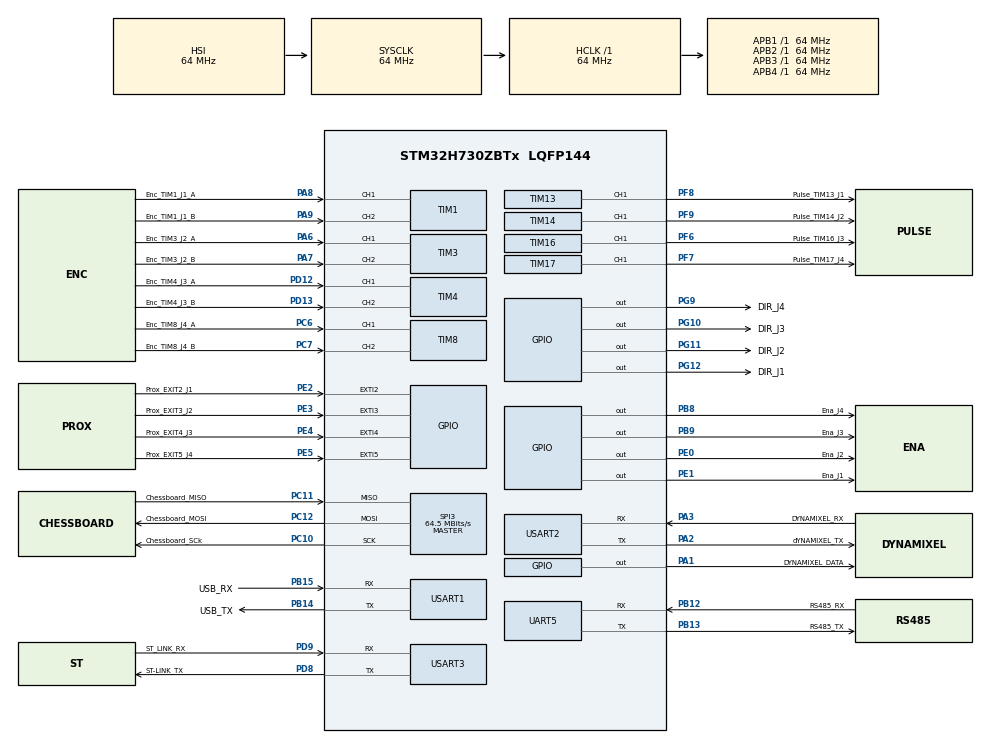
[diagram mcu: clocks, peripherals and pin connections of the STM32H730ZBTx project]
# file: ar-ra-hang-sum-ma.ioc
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Mcu.Family=STM32H7
PD12.GPIO_Label=Enc_TIM4_J3_A
RCC.CortexFreq_Value=64000000
SPI3.Direction=SPI_DIRECTION_2LINES
VP_TIM17_VS_ClockSourceINT.Mode=Enable_Timer
SPI3.VirtualType=VM_MASTER
PC10.Signal=SPI3_SCK
PC12.Signal=SPI3_MOSI
PB14.GPIO_Label=USB_TX
PA13(JTMS/SWDIO).Signal=DEBUG_JTMS-SWDIO
PC6.GPIO_Label=Enc_TIM8_J4_A
PA6.GPIO_Label=Enc_TIM3_J2_A
PB13.GPIO_Label=RS485_TX
PB13.Signal=UART5_TX
PB15.Signal=USART1_RX
PD9.Mode=Asynchronous
PF6.GPIO_Label=Pulse_TIM16_J3
SH.S_TIM13_CH1.0=TIM13_CH1,PWM Generation1 CH1
PG11.Signal=GPIO_Output
ProjectManager.StackSize=0x400
PA13(JTMS/SWDIO).Mode=Serial_Wire
USART3.VirtualMode-Asynchronous=VM_ASYNC
PD13.Signal=S_TIM4_CH2
PF7.Signal=S_TIM17_CH1
SH.S_TIM14_CH1.0=TIM14_CH1,PWM Generation1 CH1
RCC.HCLKFreq_Value=64000000
PC7.Signal=S_TIM8_CH2
PD8.Signal=USART3_TX
PE5.Signal=GPXTI5
PE1.Signal=GPIO_Output
TIM17.Channel=TIM_CHANNEL_1
USART2.VirtualMode-Asynchronous=VM_ASYNC
PB12.GPIO_Label=RS485_RX
PF7.GPIO_Label=Pulse_TIM17_J4
PB14.Mode=Asynchronous
PC11.GPIO_Label=Chessboard_MISO
PE4.GPIO_Label=Prox_EXIT4_J3
SH.S_TIM4_CH2.0=TIM4_CH2,Encoder_Interface
PE2.Signal=GPXTI2
PA8.Signal=S_TIM1_CH1
SH.S_TIM3_CH1.0=TIM3_CH1,Encoder_Interface
PE4.Signal=GPXTI4
RCC.APB3Freq_Value=64000000
PD13.GPIO_Label=Enc_TIM4_J3_B
Mcu.Package=LQFP144
PB9.Signal=GPIO_Output
PA6.Signal=S_TIM3_CH1
PB12.Mode=Asynchronous
SPI3.Mode=SPI_MODE_MASTER
PD12.Signal=S_TIM4_CH1
PA2.GPIO_Label=dYNAMIXEL_TX
PF8.Signal=S_TIM13_CH1
PC11.Mode=Full_Duplex_Master
PE0.GPIO_Label=Ena_J2
SH.S_TIM4_CH1.0=TIM4_CH1,Encoder_Interface
RCC.APB4Freq_Value=64000000
PG11.GPIO_Label=DIR_J2
PB13.Mode=Asynchronous
VP_TIM14_VS_ClockSourceINT.Mode=Enable_Timer
PE2.GPIO_Label=Prox_EXIT2_J1
PA3.Signal=USART2_RX
PG12.Signal=GPIO_Output
PD9.GPIO_Label=ST_LINK_RX
PB9.GPIO_Label=Ena_J3
PC10.GPIO_Label=Chessboard_SCk
PG9.Signal=GPIO_Output
PC11.Signal=SPI3_MISO
PA9.GPIO_Label=Enc_TIM1_J1_B
PC6.Signal=S_TIM8_CH1
PC10.Mode=Full_Duplex_Master
SH.S_TIM16_CH1.0=TIM16_CH1,PWM Generation1 CH1
PD9.Signal=USART3_RX
VP_TIM16_VS_ClockSourceINT.Mode=Enable_Timer
TIM16.Channel=TIM_CHANNEL_1
SH.S_TIM8_CH2.0=TIM8_CH2,Encoder_Interface
PG10.Signal=GPIO_Output
PF8.GPIO_Label=Pulse_TIM13_J1
PD8.GPIO_Label=ST-LINK_TX
USART1.VirtualMode-Asynchronous=VM_ASYNC
PA3.Mode=Asynchronous
PB8.GPIO_Label=Ena_J4
PA8.GPIO_Label=Enc_TIM1_J1_A
SH.S_TIM1_CH1.0=TIM1_CH1,Encoder_Interface
PF6.Signal=S_TIM16_CH1
TIM13.Channel=TIM_CHANNEL_1
ProjectManager.TargetToolchain=STM32CubeIDE
PA9.Signal=S_TIM1_CH2
RCC.USBFreq_Value=129000000
PF9.GPIO_Label=Pulse_TIM14_J2
PD8.Mode=Asynchronous
PA1.Signal=GPIO_Output
PB14.Signal=USART1_TX
PG9.GPIO_Label=DIR_J4
SH.S_TIM3_CH2.0=TIM3_CH2,Encoder_Interface
SH.S_TIM8_CH1.0=TIM8_CH1,Encoder_Interface
PC12.Mode=Full_Duplex_Master
board=custom
PE1.GPIO_Label=Ena_J1
PB15.Mode=Asynchronous
VP_TIM13_VS_ClockSourceINT.Mode=Enable_Timer
RCC.APB2Freq_Value=64000000
SPI3.CalculateBaudRate=64.5 MBits/s
TIM14.Channel=TIM_CHANNEL_1
PB15.GPIO_Label=USB_RX
SH.S_TIM1_CH2.0=TIM1_CH2,Encoder_Interface
RCC.ADCFreq_Value=129000000
PA1.GPIO_Label=DYNAMIXEL_DATA
PA14(JTCK/SWCLK).Mode=Serial_Wire
Mcu.Name=STM32H730ZBTx
PE0.Signal=GPIO_Output
PA2.Signal=USART2_TX
PC7.GPIO_Label=Enc_TIM8_J4_B
RCC.SYSCLKFreq_VALUE=64000000
PA7.GPIO_Label=Enc_TIM3_J2_B
PE5.GPIO_Label=Prox_EXIT5_J4
PC12.GPIO_Label=Chessboard_MOSI
ProjectManager.HeapSize=0x200
PG12.GPIO_Label=DIR_J1
PF9.Signal=S_TIM14_CH1
SH.S_TIM17_CH1.0=TIM17_CH1,PWM Generation1 CH1
NVIC.PriorityGroup=NVIC_PRIORITYGROUP_4
PE3.Signal=GPXTI3
PA2.Mode=Asynchronous
PB8.Signal=GPIO_Output
PE3.GPIO_Label=Prox_EXIT3_J2
PA14(JTCK/SWCLK).Signal=DEBUG_JTCK-SWCLK
RCC.APB1Freq_Value=64000000
PB12.Signal=UART5_RX
PG10.GPIO_Label=DIR_J3
PA3.GPIO_Label=DYNAMIXEL_RX
PA7.Signal=S_TIM3_CH2

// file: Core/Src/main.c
/* USER CODE BEGIN Header */
/**
  ******************************************************************************
  * @file           : main.c
  * @brief          : Main program body
  ******************************************************************************
  * @attention
  *
  * <h2><center>&copy; Copyright (c) 2021 STMicroelectronics.
  * All rights reserved.</center></h2>
  *
  * This software component is licensed by ST under BSD 3-Clause license,
  * the "License"; You may not use this file except in compliance with the
  * License. You may obtain a copy of the License at:
  *                        opensource.org/licenses/BSD-3-Clause
  *
  ******************************************************************************
  */
/* USER CODE END Header */
#include "main.h"

SPI_HandleTypeDef hspi3;

TIM_HandleTypeDef htim1;
TIM_HandleTypeDef htim3;
TIM_HandleTypeDef htim4;
TIM_HandleTypeDef htim8;
TIM_HandleTypeDef htim13;
TIM_HandleTypeDef htim14;
TIM_HandleTypeDef htim16;
TIM_HandleTypeDef htim17;

UART_HandleTypeDef huart5;
UART_HandleTypeDef huart1;
UART_HandleTypeDef huart2;
UART_HandleTypeDef huart3;

/* USER CODE BEGIN PV */
uint8_t my_data[16] = {0};

/* USER CODE END PV */

void SystemClock_Config(void);
static void MX_GPIO_Init(void);
static void MX_SPI3_Init(void);
static void MX_TIM1_Init(void);
static void MX_TIM3_Init(void);
static void MX_TIM4_Init(void);
static void MX_TIM8_Init(void);
static void MX_TIM13_Init(void);
static void MX_TIM14_Init(void);
static void MX_TIM16_Init(void);
static void MX_TIM17_Init(void);
static void MX_UART5_Init(void);
static void MX_USART1_UART_Init(void);
static void MX_USART3_UART_Init(void);
static void MX_USART2_UART_Init(void);
/* USER CODE BEGIN PFP */

void read_data_from(uint8_t slave,uint8_t *data,uint16_t len);
void write_data_from(uint8_t slave,uint8_t *data,uint16_t len);

/* USER CODE END PFP */

int main(void)
{

  /* MCU Configuration--------------------------------------------------------*/

  /* Reset of all peripherals, Initializes the Flash interface and the Systick. */
  HAL_Init();

  /* Configure the system clock */
  SystemClock_Config();

  /* Initialize all configured peripherals */
  MX_GPIO_Init();
  MX_SPI3_Init();
  MX_TIM1_Init();
  MX_TIM3_Init();
  MX_TIM4_Init();
  MX_TIM8_Init();
  MX_TIM13_Init();
  MX_TIM14_Init();
  MX_TIM16_Init();
  MX_TIM17_Init();
  MX_UART5_Init();
  MX_USART1_UART_Init();
  MX_USART3_UART_Init();
  MX_USART2_UART_Init();

  /* Infinite loop */
  /* USER CODE BEGIN WHILE */
  while (1)
  {
	  int a =0;
	  if(a == HAL_GPIO_ReadPin(GPIOx, GPIO_Pin)){
		  write_data_from(1, data, lenght_data);
	  }
	  else if(a == 2 ){
		  write_data_from(2, data, lenght_data);
	  }

    /* USER CODE END WHILE */

  }
}

void SystemClock_Config(void)
{
  RCC_OscInitTypeDef RCC_OscInitStruct = {0};
  RCC_ClkInitTypeDef RCC_ClkInitStruct = {0};

  /** Supply configuration update enable
  */
  HAL_PWREx_ConfigSupply(PWR_DIRECT_SMPS_SUPPLY);
  /** Configure the main internal regulator output voltage
  */
  __HAL_PWR_VOLTAGESCALING_CONFIG(PWR_REGULATOR_VOLTAGE_SCALE3);

  while(!__HAL_PWR_GET_FLAG(PWR_FLAG_VOSRDY)) {}
  /** Initializes the RCC Oscillators according to the specified parameters
  * in the RCC_OscInitTypeDef structure.
  */
  RCC_OscInitStruct.OscillatorType = RCC_OSCILLATORTYPE_HSI;
  RCC_OscInitStruct.HSIState = RCC_HSI_DIV1;
  RCC_OscInitStruct.HSICalibrationValue = RCC_HSICALIBRATION_DEFAULT;
  RCC_OscInitStruct.PLL.PLLState = RCC_PLL_ON;
  RCC_OscInitStruct.PLL.PLLSource = RCC_PLLSOURCE_HSI;
  RCC_OscInitStruct.PLL.PLLM = 32;
  RCC_OscInitStruct.PLL.PLLN = 129;
  RCC_OscInitStruct.PLL.PLLP = 2;
  RCC_OscInitStruct.PLL.PLLQ = 2;
  RCC_OscInitStruct.PLL.PLLR = 2;
  RCC_OscInitStruct.PLL.PLLRGE = RCC_PLL1VCIRANGE_1;
  RCC_OscInitStruct.PLL.PLLVCOSEL = RCC_PLL1VCOWIDE;
  RCC_OscInitStruct.PLL.PLLFRACN = 0;
  if (HAL_RCC_OscConfig(&RCC_OscInitStruct) != HAL_OK)
  {
    Error_Handler();
  }
  /** Initializes the CPU, AHB and APB buses clocks
  */
  RCC_ClkInitStruct.ClockType = RCC_CLOCKTYPE_HCLK|RCC_CLOCKTYPE_SYSCLK
                              |RCC_CLOCKTYPE_PCLK1|RCC_CLOCKTYPE_PCLK2
                              |RCC_CLOCKTYPE_D3PCLK1|RCC_CLOCKTYPE_D1PCLK1;
  RCC_ClkInitStruct.SYSCLKSource = RCC_SYSCLKSOURCE_HSI;
  RCC_ClkInitStruct.SYSCLKDivider = RCC_SYSCLK_DIV1;
  RCC_ClkInitStruct.AHBCLKDivider = RCC_HCLK_DIV1;
  RCC_ClkInitStruct.APB3CLKDivider = RCC_APB3_DIV1;
  RCC_ClkInitStruct.APB1CLKDivider = RCC_APB1_DIV1;
  RCC_ClkInitStruct.APB2CLKDivider = RCC_APB2_DIV1;
  RCC_ClkInitStruct.APB4CLKDivider = RCC_APB4_DIV1;

  if (HAL_RCC_ClockConfig(&RCC_ClkInitStruct, FLASH_LATENCY_1) != HAL_OK)
  {
    Error_Handler();
  }
}

static void MX_SPI3_Init(void)
{

  /* SPI3 parameter configuration*/
  hspi3.Instance = SPI3;
  hspi3.Init.Mode = SPI_MODE_MASTER;
  hspi3.Init.Direction = SPI_DIRECTION_2LINES;
  hspi3.Init.DataSize = SPI_DATASIZE_4BIT;
  hspi3.Init.CLKPolarity = SPI_POLARITY_LOW;
  hspi3.Init.CLKPhase = SPI_PHASE_1EDGE;
  hspi3.Init.NSS = SPI_NSS_SOFT;
  hspi3.Init.BaudRatePrescaler = SPI_BAUDRATEPRESCALER_2;
  hspi3.Init.FirstBit = SPI_FIRSTBIT_MSB;
  hspi3.Init.TIMode = SPI_TIMODE_DISABLE;
  hspi3.Init.CRCCalculation = SPI_CRCCALCULATION_DISABLE;
  hspi3.Init.CRCPolynomial = 0x0;
  hspi3.Init.NSSPMode = SPI_NSS_PULSE_ENABLE;
  hspi3.Init.NSSPolarity = SPI_NSS_POLARITY_LOW;
  hspi3.Init.FifoThreshold = SPI_FIFO_THRESHOLD_01DATA;
  hspi3.Init.TxCRCInitializationPattern = SPI_CRC_INITIALIZATION_ALL_ZERO_PATTERN;
  hspi3.Init.RxCRCInitializationPattern = SPI_CRC_INITIALIZATION_ALL_ZERO_PATTERN;
  hspi3.Init.MasterSSIdleness = SPI_MASTER_SS_IDLENESS_00CYCLE;
  hspi3.Init.MasterInterDataIdleness = SPI_MASTER_INTERDATA_IDLENESS_00CYCLE;
  hspi3.Init.MasterReceiverAutoSusp = SPI_MASTER_RX_AUTOSUSP_DISABLE;
  hspi3.Init.MasterKeepIOState = SPI_MASTER_KEEP_IO_STATE_DISABLE;
  hspi3.Init.IOSwap = SPI_IO_SWAP_DISABLE;
  if (HAL_SPI_Init(&hspi3) != HAL_OK)
  {
    Error_Handler();
  }

}

static void MX_TIM1_Init(void)
{

  TIM_Encoder_InitTypeDef sConfig = {0};
  TIM_MasterConfigTypeDef sMasterConfig = {0};

  htim1.Instance = TIM1;
  htim1.Init.Prescaler = 0;
  htim1.Init.CounterMode = TIM_COUNTERMODE_UP;
  htim1.Init.Period = 65535;
  htim1.Init.ClockDivision = TIM_CLOCKDIVISION_DIV1;
  htim1.Init.RepetitionCounter = 0;
  htim1.Init.AutoReloadPreload = TIM_AUTORELOAD_PRELOAD_DISABLE;
  sConfig.EncoderMode = TIM_ENCODERMODE_TI1;
  sConfig.IC1Polarity = TIM_ICPOLARITY_RISING;
  sConfig.IC1Selection = TIM_ICSELECTION_DIRECTTI;
  sConfig.IC1Prescaler = TIM_ICPSC_DIV1;
  sConfig.IC1Filter = 0;
  sConfig.IC2Polarity = TIM_ICPOLARITY_RISING;
  sConfig.IC2Selection = TIM_ICSELECTION_DIRECTTI;
  sConfig.IC2Prescaler = TIM_ICPSC_DIV1;
  sConfig.IC2Filter = 0;
  if (HAL_TIM_Encoder_Init(&htim1, &sConfig) != HAL_OK)
  {
    Error_Handler();
  }
  sMasterConfig.MasterOutputTrigger = TIM_TRGO_RESET;
  sMasterConfig.MasterOutputTrigger2 = TIM_TRGO2_RESET;
  sMasterConfig.MasterSlaveMode = TIM_MASTERSLAVEMODE_DISABLE;
  if (HAL_TIMEx_MasterConfigSynchronization(&htim1, &sMasterConfig) != HAL_OK)
  {
    Error_Handler();
  }

}

static void MX_TIM3_Init(void)
{

  TIM_Encoder_InitTypeDef sConfig = {0};
  TIM_MasterConfigTypeDef sMasterConfig = {0};

  htim3.Instance = TIM3;
  htim3.Init.Prescaler = 0;
  htim3.Init.CounterMode = TIM_COUNTERMODE_UP;
  htim3.Init.Period = 65535;
  htim3.Init.ClockDivision = TIM_CLOCKDIVISION_DIV1;
  htim3.Init.AutoReloadPreload = TIM_AUTORELOAD_PRELOAD_DISABLE;
  sConfig.EncoderMode = TIM_ENCODERMODE_TI1;
  sConfig.IC1Polarity = TIM_ICPOLARITY_RISING;
  sConfig.IC1Selection = TIM_ICSELECTION_DIRECTTI;
  sConfig.IC1Prescaler = TIM_ICPSC_DIV1;
  sConfig.IC1Filter = 0;
  sConfig.IC2Polarity = TIM_ICPOLARITY_RISING;
  sConfig.IC2Selection = TIM_ICSELECTION_DIRECTTI;
  sConfig.IC2Prescaler = TIM_ICPSC_DIV1;
  sConfig.IC2Filter = 0;
  if (HAL_TIM_Encoder_Init(&htim3, &sConfig) != HAL_OK)
  {
    Error_Handler();
  }
  sMasterConfig.MasterOutputTrigger = TIM_TRGO_RESET;
  sMasterConfig.MasterSlaveMode = TIM_MASTERSLAVEMODE_DISABLE;
  if (HAL_TIMEx_MasterConfigSynchronization(&htim3, &sMasterConfig) != HAL_OK)
  {
    Error_Handler();
  }

}

static void MX_TIM4_Init(void)
{

  TIM_Encoder_InitTypeDef sConfig = {0};
  TIM_MasterConfigTypeDef sMasterConfig = {0};

  htim4.Instance = TIM4;
  htim4.Init.Prescaler = 0;
  htim4.Init.CounterMode = TIM_COUNTERMODE_UP;
  htim4.Init.Period = 65535;
  htim4.Init.ClockDivision = TIM_CLOCKDIVISION_DIV1;
  htim4.Init.AutoReloadPreload = TIM_AUTORELOAD_PRELOAD_DISABLE;
  sConfig.EncoderMode = TIM_ENCODERMODE_TI1;
  sConfig.IC1Polarity = TIM_ICPOLARITY_RISING;
  sConfig.IC1Selection = TIM_ICSELECTION_DIRECTTI;
  sConfig.IC1Prescaler = TIM_ICPSC_DIV1;
  sConfig.IC1Filter = 0;
  sConfig.IC2Polarity = TIM_ICPOLARITY_RISING;
  sConfig.IC2Selection = TIM_ICSELECTION_DIRECTTI;
  sConfig.IC2Prescaler = TIM_ICPSC_DIV1;
  sConfig.IC2Filter = 0;
  if (HAL_TIM_Encoder_Init(&htim4, &sConfig) != HAL_OK)
  {
    Error_Handler();
  }
  sMasterConfig.MasterOutputTrigger = TIM_TRGO_RESET;
  sMasterConfig.MasterSlaveMode = TIM_MASTERSLAVEMODE_DISABLE;
  if (HAL_TIMEx_MasterConfigSynchronization(&htim4, &sMasterConfig) != HAL_OK)
  {
    Error_Handler();
  }

}

static void MX_TIM8_Init(void)
{

  TIM_Encoder_InitTypeDef sConfig = {0};
  TIM_MasterConfigTypeDef sMasterConfig = {0};

  htim8.Instance = TIM8;
  htim8.Init.Prescaler = 0;
  htim8.Init.CounterMode = TIM_COUNTERMODE_UP;
  htim8.Init.Period = 65535;
  htim8.Init.ClockDivision = TIM_CLOCKDIVISION_DIV1;
  htim8.Init.RepetitionCounter = 0;
  htim8.Init.AutoReloadPreload = TIM_AUTORELOAD_PRELOAD_DISABLE;
  sConfig.EncoderMode = TIM_ENCODERMODE_TI1;
  sConfig.IC1Polarity = TIM_ICPOLARITY_RISING;
  sConfig.IC1Selection = TIM_ICSELECTION_DIRECTTI;
  sConfig.IC1Prescaler = TIM_ICPSC_DIV1;
  sConfig.IC1Filter = 0;
  sConfig.IC2Polarity = TIM_ICPOLARITY_RISING;
  sConfig.IC2Selection = TIM_ICSELECTION_DIRECTTI;
  sConfig.IC2Prescaler = TIM_ICPSC_DIV1;
  sConfig.IC2Filter = 0;
  if (HAL_TIM_Encoder_Init(&htim8, &sConfig) != HAL_OK)
  {
    Error_Handler();
  }
  sMasterConfig.MasterOutputTrigger = TIM_TRGO_RESET;
  sMasterConfig.MasterOutputTrigger2 = TIM_TRGO2_RESET;
  sMasterConfig.MasterSlaveMode = TIM_MASTERSLAVEMODE_DISABLE;
  if (HAL_TIMEx_MasterConfigSynchronization(&htim8, &sMasterConfig) != HAL_OK)
  {
    Error_Handler();
  }

}

static void MX_TIM13_Init(void)
{

  TIM_OC_InitTypeDef sConfigOC = {0};

  htim13.Instance = TIM13;
  htim13.Init.Prescaler = 0;
  htim13.Init.CounterMode = TIM_COUNTERMODE_UP;
  htim13.Init.Period = 65535;
  htim13.Init.ClockDivision = TIM_CLOCKDIVISION_DIV1;
  htim13.Init.AutoReloadPreload = TIM_AUTORELOAD_PRELOAD_DISABLE;
  if (HAL_TIM_Base_Init(&htim13) != HAL_OK)
  {
    Error_Handler();
  }
  if (HAL_TIM_PWM_Init(&htim13) != HAL_OK)
  {
    Error_Handler();
  }
  sConfigOC.OCMode = TIM_OCMODE_PWM1;
  sConfigOC.Pulse = 0;
  sConfigOC.OCPolarity = TIM_OCPOLARITY_HIGH;
  sConfigOC.OCFastMode = TIM_OCFAST_DISABLE;
  if (HAL_TIM_PWM_ConfigChannel(&htim13, &sConfigOC, TIM_CHANNEL_1) != HAL_OK)
  {
    Error_Handler();
  }
  HAL_TIM_MspPostInit(&htim13);

}

static void MX_TIM14_Init(void)
{

  TIM_OC_InitTypeDef sConfigOC = {0};

  htim14.Instance = TIM14;
  htim14.Init.Prescaler = 0;
  htim14.Init.CounterMode = TIM_COUNTERMODE_UP;
  htim14.Init.Period = 65535;
  htim14.Init.ClockDivision = TIM_CLOCKDIVISION_DIV1;
  htim14.Init.AutoReloadPreload = TIM_AUTORELOAD_PRELOAD_DISABLE;
  if (HAL_TIM_Base_Init(&htim14) != HAL_OK)
  {
    Error_Handler();
  }
  if (HAL_TIM_PWM_Init(&htim14) != HAL_OK)
  {
    Error_Handler();
  }
  sConfigOC.OCMode = TIM_OCMODE_PWM1;
  sConfigOC.Pulse = 0;
  sConfigOC.OCPolarity = TIM_OCPOLARITY_HIGH;
  sConfigOC.OCFastMode = TIM_OCFAST_DISABLE;
  if (HAL_TIM_PWM_ConfigChannel(&htim14, &sConfigOC, TIM_CHANNEL_1) != HAL_OK)
  {
    Error_Handler();
  }
  HAL_TIM_MspPostInit(&htim14);

}

static void MX_TIM16_Init(void)
{

  TIM_OC_InitTypeDef sConfigOC = {0};
  TIM_BreakDeadTimeConfigTypeDef sBreakDeadTimeConfig = {0};

  htim16.Instance = TIM16;
  htim16.Init.Prescaler = 0;
  htim16.Init.CounterMode = TIM_COUNTERMODE_UP;
  htim16.Init.Period = 65535;
  htim16.Init.ClockDivision = TIM_CLOCKDIVISION_DIV1;
  htim16.Init.RepetitionCounter = 0;
  htim16.Init.AutoReloadPreload = TIM_AUTORELOAD_PRELOAD_DISABLE;
  if (HAL_TIM_Base_Init(&htim16) != HAL_OK)
  {
    Error_Handler();
  }
  if (HAL_TIM_PWM_Init(&htim16) != HAL_OK)
  {
    Error_Handler();
  }
  sConfigOC.OCMode = TIM_OCMODE_PWM1;
  sConfigOC.Pulse = 0;
  sConfigOC.OCPolarity = TIM_OCPOLARITY_HIGH;
  sConfigOC.OCNPolarity = TIM_OCNPOLARITY_HIGH;
  sConfigOC.OCFastMode = TIM_OCFAST_DISABLE;
  sConfigOC.OCIdleState = TIM_OCIDLESTATE_RESET;
  sConfigOC.OCNIdleState = TIM_OCNIDLESTATE_RESET;
  if (HAL_TIM_PWM_ConfigChannel(&htim16, &sConfigOC, TIM_CHANNEL_1) != HAL_OK)
  {
    Error_Handler();
  }
  sBreakDeadTimeConfig.OffStateRunMode = TIM_OSSR_DISABLE;
  sBreakDeadTimeConfig.OffStateIDLEMode = TIM_OSSI_DISABLE;
  sBreakDeadTimeConfig.LockLevel = TIM_LOCKLEVEL_OFF;
  sBreakDeadTimeConfig.DeadTime = 0;
  sBreakDeadTimeConfig.BreakState = TIM_BREAK_DISABLE;
  sBreakDeadTimeConfig.BreakPolarity = TIM_BREAKPOLARITY_HIGH;
  sBreakDeadTimeConfig.BreakFilter = 0;
  sBreakDeadTimeConfig.AutomaticOutput = TIM_AUTOMATICOUTPUT_DISABLE;
  if (HAL_TIMEx_ConfigBreakDeadTime(&htim16, &sBreakDeadTimeConfig) != HAL_OK)
  {
    Error_Handler();
  }
  HAL_TIM_MspPostInit(&htim16);

}

static void MX_TIM17_Init(void)
{

  TIM_OC_InitTypeDef sConfigOC = {0};
  TIM_BreakDeadTimeConfigTypeDef sBreakDeadTimeConfig = {0};

  htim17.Instance = TIM17;
  htim17.Init.Prescaler = 0;
  htim17.Init.CounterMode = TIM_COUNTERMODE_UP;
  htim17.Init.Period = 65535;
  htim17.Init.ClockDivision = TIM_CLOCKDIVISION_DIV1;
  htim17.Init.RepetitionCounter = 0;
  htim17.Init.AutoReloadPreload = TIM_AUTORELOAD_PRELOAD_DISABLE;
  if (HAL_TIM_Base_Init(&htim17) != HAL_OK)
  {
    Error_Handler();
  }
  if (HAL_TIM_PWM_Init(&htim17) != HAL_OK)
  {
    Error_Handler();
  }
  sConfigOC.OCMode = TIM_OCMODE_PWM1;
  sConfigOC.Pulse = 0;
  sConfigOC.OCPolarity = TIM_OCPOLARITY_HIGH;
  sConfigOC.OCNPolarity = TIM_OCNPOLARITY_HIGH;
  sConfigOC.OCFastMode = TIM_OCFAST_DISABLE;
  sConfigOC.OCIdleState = TIM_OCIDLESTATE_RESET;
  sConfigOC.OCNIdleState = TIM_OCNIDLESTATE_RESET;
  if (HAL_TIM_PWM_ConfigChannel(&htim17, &sConfigOC, TIM_CHANNEL_1) != HAL_OK)
  {
    Error_Handler();
  }
  sBreakDeadTimeConfig.OffStateRunMode = TIM_OSSR_DISABLE;
  sBreakDeadTimeConfig.OffStateIDLEMode = TIM_OSSI_DISABLE;
  sBreakDeadTimeConfig.LockLevel = TIM_LOCKLEVEL_OFF;
  sBreakDeadTimeConfig.DeadTime = 0;
  sBreakDeadTimeConfig.BreakState = TIM_BREAK_DISABLE;
  sBreakDeadTimeConfig.BreakPolarity = TIM_BREAKPOLARITY_HIGH;
  sBreakDeadTimeConfig.BreakFilter = 0;
  sBreakDeadTimeConfig.AutomaticOutput = TIM_AUTOMATICOUTPUT_DISABLE;
  if (HAL_TIMEx_ConfigBreakDeadTime(&htim17, &sBreakDeadTimeConfig) != HAL_OK)
  {
    Error_Handler();
  }
  HAL_TIM_MspPostInit(&htim17);

}

static void MX_UART5_Init(void)
{

  huart5.Instance = UART5;
  huart5.Init.BaudRate = 115200;
  huart5.Init.WordLength = UART_WORDLENGTH_8B;
  huart5.Init.StopBits = UART_STOPBITS_1;
  huart5.Init.Parity = UART_PARITY_NONE;
  huart5.Init.Mode = UART_MODE_TX_RX;
  huart5.Init.HwFlowCtl = UART_HWCONTROL_NONE;
  huart5.Init.OverSampling = UART_OVERSAMPLING_16;
  huart5.Init.OneBitSampling = UART_ONE_BIT_SAMPLE_DISABLE;
  huart5.Init.ClockPrescaler = UART_PRESCALER_DIV1;
  huart5.AdvancedInit.AdvFeatureInit = UART_ADVFEATURE_NO_INIT;
  if (HAL_UART_Init(&huart5) != HAL_OK)
  {
    Error_Handler();
  }
  if (HAL_UARTEx_SetTxFifoThreshold(&huart5, UART_TXFIFO_THRESHOLD_1_8) != HAL_OK)
  {
    Error_Handler();
  }
  if (HAL_UARTEx_SetRxFifoThreshold(&huart5, UART_RXFIFO_THRESHOLD_1_8) != HAL_OK)
  {
    Error_Handler();
  }
  if (HAL_UARTEx_DisableFifoMode(&huart5) != HAL_OK)
  {
    Error_Handler();
  }

}

static void MX_USART1_UART_Init(void)
{

  huart1.Instance = USART1;
  huart1.Init.BaudRate = 115200;
  huart1.Init.WordLength = UART_WORDLENGTH_8B;
  huart1.Init.StopBits = UART_STOPBITS_1;
  huart1.Init.Parity = UART_PARITY_NONE;
  huart1.Init.Mode = UART_MODE_TX_RX;
  huart1.Init.HwFlowCtl = UART_HWCONTROL_NONE;
  huart1.Init.OverSampling = UART_OVERSAMPLING_16;
  huart1.Init.OneBitSampling = UART_ONE_BIT_SAMPLE_DISABLE;
  huart1.Init.ClockPrescaler = UART_PRESCALER_DIV1;
  huart1.AdvancedInit.AdvFeatureInit = UART_ADVFEATURE_NO_INIT;
  if (HAL_UART_Init(&huart1) != HAL_OK)
  {
    Error_Handler();
  }
  if (HAL_UARTEx_SetTxFifoThreshold(&huart1, UART_TXFIFO_THRESHOLD_1_8) != HAL_OK)
  {
    Error_Handler();
  }
  if (HAL_UARTEx_SetRxFifoThreshold(&huart1, UART_RXFIFO_THRESHOLD_1_8) != HAL_OK)
  {
    Error_Handler();
  }
  if (HAL_UARTEx_DisableFifoMode(&huart1) != HAL_OK)
  {
    Error_Handler();
  }

}

static void MX_USART2_UART_Init(void)
{

  huart2.Instance = USART2;
  huart2.Init.BaudRate = 115200;
  huart2.Init.WordLength = UART_WORDLENGTH_8B;
  huart2.Init.StopBits = UART_STOPBITS_1;
  huart2.Init.Parity = UART_PARITY_NONE;
  huart2.Init.Mode = UART_MODE_TX_RX;
  huart2.Init.HwFlowCtl = UART_HWCONTROL_NONE;
  huart2.Init.OverSampling = UART_OVERSAMPLING_16;
  huart2.Init.OneBitSampling = UART_ONE_BIT_SAMPLE_DISABLE;
  huart2.Init.ClockPrescaler = UART_PRESCALER_DIV1;
  huart2.AdvancedInit.AdvFeatureInit = UART_ADVFEATURE_NO_INIT;
  if (HAL_UART_Init(&huart2) != HAL_OK)
  {
    Error_Handler();
  }
  if (HAL_UARTEx_SetTxFifoThreshold(&huart2, UART_TXFIFO_THRESHOLD_1_8) != HAL_OK)
  {
    Error_Handler();
  }
  if (HAL_UARTEx_SetRxFifoThreshold(&huart2, UART_RXFIFO_THRESHOLD_1_8) != HAL_OK)
  {
    Error_Handler();
  }
  if (HAL_UARTEx_DisableFifoMode(&huart2) != HAL_OK)
  {
    Error_Handler();
  }

}

static void MX_USART3_UART_Init(void)
{

  huart3.Instance = USART3;
  huart3.Init.BaudRate = 115200;
  huart3.Init.WordLength = UART_WORDLENGTH_8B;
  huart3.Init.StopBits = UART_STOPBITS_1;
  huart3.Init.Parity = UART_PARITY_NONE;
  huart3.Init.Mode = UART_MODE_TX_RX;
  huart3.Init.HwFlowCtl = UART_HWCONTROL_NONE;
  huart3.Init.OverSampling = UART_OVERSAMPLING_16;
  huart3.Init.OneBitSampling = UART_ONE_BIT_SAMPLE_DISABLE;
  huart3.Init.ClockPrescaler = UART_PRESCALER_DIV1;
  huart3.AdvancedInit.AdvFeatureInit = UART_ADVFEATURE_NO_INIT;
  if (HAL_UART_Init(&huart3) != HAL_OK)
  {
    Error_Handler();
  }
  if (HAL_UARTEx_SetTxFifoThreshold(&huart3, UART_TXFIFO_THRESHOLD_1_8) != HAL_OK)
  {
    Error_Handler();
  }
  if (HAL_UARTEx_SetRxFifoThreshold(&huart3, UART_RXFIFO_THRESHOLD_1_8) != HAL_OK)
  {
    Error_Handler();
  }
  if (HAL_UARTEx_DisableFifoMode(&huart3) != HAL_OK)
  {
    Error_Handler();
  }

}

static void MX_GPIO_Init(void)
{
  GPIO_InitTypeDef GPIO_InitStruct = {0};

  /* GPIO Ports Clock Enable */
  __HAL_RCC_GPIOE_CLK_ENABLE();
  __HAL_RCC_GPIOF_CLK_ENABLE();
  __HAL_RCC_GPIOA_CLK_ENABLE();
  __HAL_RCC_GPIOB_CLK_ENABLE();
  __HAL_RCC_GPIOD_CLK_ENABLE();
  __HAL_RCC_GPIOC_CLK_ENABLE();
  __HAL_RCC_GPIOG_CLK_ENABLE();

  /*Configure GPIO pin Output Level */
  HAL_GPIO_WritePin(DYNAMIXEL_DATA_GPIO_Port, DYNAMIXEL_DATA_Pin, GPIO_PIN_RESET);

  /*Configure GPIO pin Output Level */
  HAL_GPIO_WritePin(GPIOG, DIR_J4_Pin|DIR_J3_Pin|DIR_J2_Pin|DIR_J1_Pin, GPIO_PIN_RESET);

  /*Configure GPIO pin Output Level */
  HAL_GPIO_WritePin(GPIOB, Ena_J4_Pin|Ena_J3_Pin, GPIO_PIN_RESET);

  /*Configure GPIO pin Output Level */
  HAL_GPIO_WritePin(GPIOE, Ena_J2_Pin|Ena_J1_Pin, GPIO_PIN_RESET);

  /*Configure GPIO pins : Prox_EXIT2_J1_Pin Prox_EXIT3_J2_Pin Prox_EXIT4_J3_Pin Prox_EXIT5_J4_Pin */
  GPIO_InitStruct.Pin = Prox_EXIT2_J1_Pin|Prox_EXIT3_J2_Pin|Prox_EXIT4_J3_Pin|Prox_EXIT5_J4_Pin;
  GPIO_InitStruct.Mode = GPIO_MODE_IT_RISING;
  GPIO_InitStruct.Pull = GPIO_NOPULL;
  HAL_GPIO_Init(GPIOE, &GPIO_InitStruct);

  /*Configure GPIO pin : DYNAMIXEL_DATA_Pin */
  GPIO_InitStruct.Pin = DYNAMIXEL_DATA_Pin;
  GPIO_InitStruct.Mode = GPIO_MODE_OUTPUT_PP;
  GPIO_InitStruct.Pull = GPIO_NOPULL;
  GPIO_InitStruct.Speed = GPIO_SPEED_FREQ_LOW;
  HAL_GPIO_Init(DYNAMIXEL_DATA_GPIO_Port, &GPIO_InitStruct);

  /*Configure GPIO pins : DIR_J4_Pin DIR_J3_Pin DIR_J2_Pin DIR_J1_Pin */
  GPIO_InitStruct.Pin = DIR_J4_Pin|DIR_J3_Pin|DIR_J2_Pin|DIR_J1_Pin;
  GPIO_InitStruct.Mode = GPIO_MODE_OUTPUT_PP;
  GPIO_InitStruct.Pull = GPIO_NOPULL;
  GPIO_InitStruct.Speed = GPIO_SPEED_FREQ_LOW;
  HAL_GPIO_Init(GPIOG, &GPIO_InitStruct);

  /*Configure GPIO pins : Ena_J4_Pin Ena_J3_Pin */
  GPIO_InitStruct.Pin = Ena_J4_Pin|Ena_J3_Pin;
  GPIO_InitStruct.Mode = GPIO_MODE_OUTPUT_PP;
  GPIO_InitStruct.Pull = GPIO_NOPULL;
  GPIO_InitStruct.Speed = GPIO_SPEED_FREQ_LOW;
  HAL_GPIO_Init(GPIOB, &GPIO_InitStruct);

  /*Configure GPIO pins : Ena_J2_Pin Ena_J1_Pin */
  GPIO_InitStruct.Pin = Ena_J2_Pin|Ena_J1_Pin;
  GPIO_InitStruct.Mode = GPIO_MODE_OUTPUT_PP;
  GPIO_InitStruct.Pull = GPIO_NOPULL;
  GPIO_InitStruct.Speed = GPIO_SPEED_FREQ_LOW;
  HAL_GPIO_Init(GPIOE, &GPIO_InitStruct);

}

/* USER CODE BEGIN 4 */
//slave[3] = 1,2,3
void read_data_from(uint8_t slave,uint8_t *data,uint16_t len){
	if(slave == 1){
		HAL_GPIO_WritePin(GPIOx, GPIO_Pin, 0);
		HAL_GPIO_WritePin(GPIOx, GPIO_Pin, 1);
		HAL_GPIO_WritePin(GPIOx, GPIO_Pin, 1);
	}
	else if(slave == 2)
	{
		HAL_GPIO_WritePin(GPIOx, GPIO_Pin, 0);
		HAL_GPIO_WritePin(GPIOx, GPIO_Pin, 1);
		HAL_GPIO_WritePin(GPIOx, GPIO_Pin, 0);
	}
	else if(slave == 3)
	{
		HAL_GPIO_WritePin(GPIOx, GPIO_Pin, 0);
		HAL_GPIO_WritePin(GPIOx, GPIO_Pin, 0);
		HAL_GPIO_WritePin(GPIOx, GPIO_Pin, 1);
	}
	else{
		break;
	}

	//recieve data
	HAL_SPI_Receive(&hspi3, data, len, 100);

}

void write_data_from(uint8_t slave,uint8_t *data,uint16_t len){

	if(slave == 1){
		HAL_GPIO_WritePin(GPIOx, GPIO_Pin, 0);
		HAL_GPIO_WritePin(GPIOx, GPIO_Pin, 1);
		HAL_GPIO_WritePin(GPIOx, GPIO_Pin, 1);
	}
	else if(slave == 2)
	{
		HAL_GPIO_WritePin(GPIOx, GPIO_Pin, 0);
		HAL_GPIO_WritePin(GPIOx, GPIO_Pin, 1);
		HAL_GPIO_WritePin(GPIOx, GPIO_Pin, 1);
	}
	else if(slave == 3)
	{
		HAL_GPIO_WritePin(GPIOx, GPIO_Pin, 1);
		HAL_GPIO_WritePin(GPIOx, GPIO_Pin, 1);
		HAL_GPIO_WritePin(GPIOx, GPIO_Pin, 0);
	}
	else{
		break;
	}

	HAL_SPI_Transmit(&hspi3, data, len, 100);

}
/* USER CODE END 4 */

void Error_Handler(void)
{
  __disable_irq();
  while (1)
  {
  }
}

/************************ (C) COPYRIGHT STMicroelectronics *****END OF FILE****/
